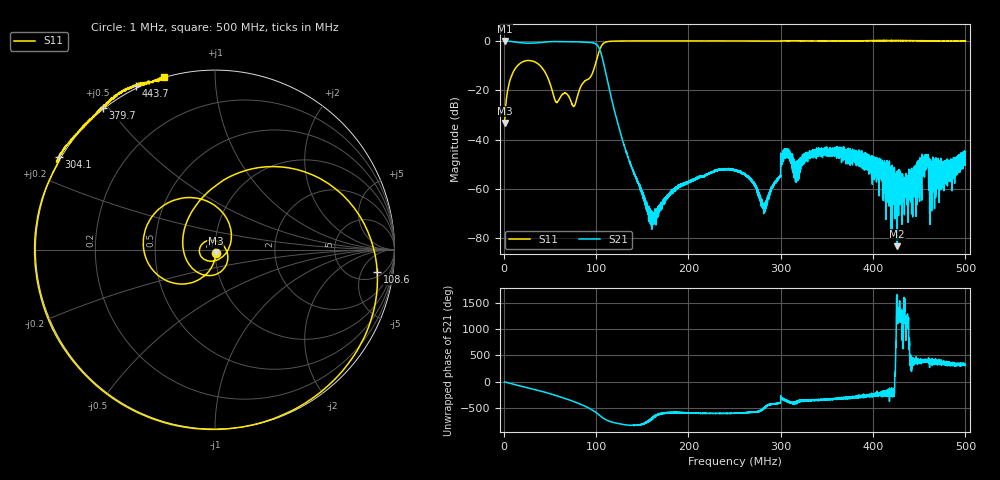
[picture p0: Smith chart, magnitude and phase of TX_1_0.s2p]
! NanoVNA-App
! Date: 2026-08-26 21:47:58
! Start: 1MHz Stop: 500MHz Points: 6401
! S-Parameter data: F S11 S21 S12 S22
# Hz S RI R 50
!  Frequency  S11_Real  S11_Imag  S21_Real  S21_Imag  S12_Real  S12_Imag  S22_Real  S22_Imag
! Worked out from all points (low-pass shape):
!   6401 points, 1 MHz to 500 MHz, reference 50 ohm
!   highest |S21| = 0.01 dB at 1 MHz (marker M1); lowest = -83.1 dB at 426.2 MHz (marker M2)
!   |S21| within 3 dB of the highest: start of sweep to 103.5 MHz
!   lowest |S11| = -33.2 dB at 1 MHz (marker M3), VSWR 1.04, Z = 50.3 - j2.16 ohm
!   |S11| at or under -10 dB: start of sweep to 14.98 MHz; 39.53 MHz to 98.81 MHz (59.27 MHz wide, 85.7 % of centre)
!   S12 and S22 are empty: the file has one direction only
!   S11 on the Smith chart (normalised r, x): 1 MHz: 1.01, -0.04; 108.6 MHz: 7, -10; 304.1 MHz: -0.01, +0.27; 379.7 MHz: -0.00, +0.48; 443.7 MHz: -0.01, +0.63; 500 MHz: -0.00, +0.75
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1000000  0.0035 -0.0215  0.9976 -0.0857  0 0  0 0
7471406  -0.0747 -0.1575  0.8036 -0.5625  0 0  0 0
1.916672e7  -0.3501 -0.1096  0.055 -0.9206  0 0  0 0
3.858094e7  -0.1554 0.2898  -0.9159 -0.1477  0 0  0 0
5.885281e7  0.00779 -0.0596  0.088 0.9715  0 0  0 0
7.273125e7  -0.0323 0.0511  0.9667 0.0598  0 0  0 0
8.419266e7  0.034 -0.1216  0.2474 -0.9231  0 0  0 0
9.596594e7  -0.1575 0.1529  -0.9241 -0.0479  0 0  0 0
1.020475e8  0.2437 0.4569  -0.2494 0.7535  0 0  0 0
1.085969e8  0.9036 -0.1227  0.3118 0.1094  0 0  0 0
1.240347e8  0.1397 -0.9899  0.00509 -0.0192  0 0  0 0
1.584189e8  -0.7317 -0.689  0.000346 -0.00011  0 0  0 0
1.673853e8  -0.8238 -0.5773  -6.6e-06 0.000321  0 0  0 0
2.505e8  -0.9823 0.2073  -0.00139 0.00205  0 0  0 0
2.824672e8  -0.9158 0.4008  -0.000305 -0.000259  0 0  0 0
3.040645e8  -0.8697 0.5155  0.00417 0.000648  0 0  0 0
3.336927e8  -0.782 0.6353  0.00496 0.000824  0 0  0 0
3.796942e8  -0.6242 0.7874  0.0015 0.00528  0 0  0 0
4.168853e8  -0.5293 0.8738  -0.000442 0.000501  0 0  0 0
4.262416e8  -0.4969 0.8913  -5.98e-05 -3.61e-05  0 0  0 0
4.437066e8  -0.4408 0.9107  0.000455 0.00204  0 0  0 0
5e8  -0.2853 0.9634  0.0043 -0.00382  0 0  0 0
